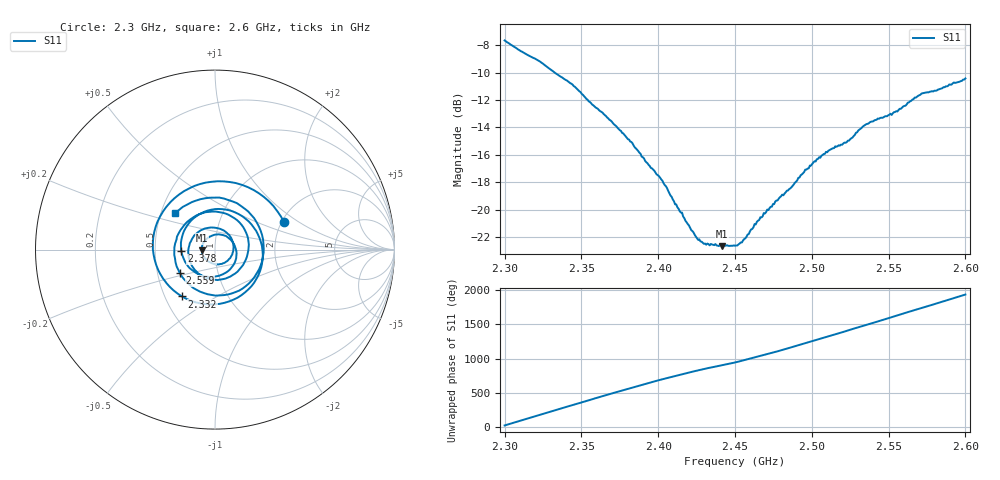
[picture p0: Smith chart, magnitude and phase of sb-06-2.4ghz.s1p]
! NanoVNA-App
! Date: 2026-05-22 17:34:10
! Start: 2.3GHz Stop: 2.6GHz Points: 401
! S-Parameter data: F S11
# Hz S RI R 50
!  Frequency  S11_Real  S11_Imag
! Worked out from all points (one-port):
!   401 points, 2.3 GHz to 2.6 GHz, reference 50 ohm
!   lowest |S11| = -22.7 dB at 2.442 GHz (marker M1), VSWR 1.16, Z = 43.1 - j0.282 ohm
!   |S11| at or under -10 dB: 2.333 GHz to end of sweep
!   S11 on the Smith chart (normalised r, x): 2.3 GHz: 2.06, +0.76; 2.332 GHz: 0.61, -0.36; 2.378 GHz: 0.68, -0.01; 2.559 GHz: 0.65, -0.18; 2.6 GHz: 0.59, +0.27
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2.3e9  0.3849 0.1522
2.30675e9  0.151 0.3604
2.312e9  -0.0847 0.3649
2.32175e9  -0.3442 0.0651
2.3315e9  -0.1842 -0.2613
2.3375e9  0.0274 -0.3021
2.351e9  0.2615 0.0205
2.36225e9  0.0386 0.2254
2.375e9  -0.1873 0.0542
2.378e9  -0.1873 -0.00959
2.3915e9  -0.00201 -0.1506
2.4125e9  0.0844 0.0574
2.44175e9  -0.0736 -0.00325
2.45e9  -0.054 -0.0505
2.47325e9  0.1025 -0.00231
2.4875e9  -0.00154 0.1221
2.504e9  -0.1439 -0.0524
2.51525e9  0.0141 -0.1696
2.525e9  0.172 -0.0556
2.5325e9  0.166 0.1095
2.54225e9  -0.0321 0.2105
2.55125e9  -0.2119 0.0719
2.55875e9  -0.1961 -0.1306
2.5625e9  -0.1222 -0.2129
2.5715e9  0.1353 -0.2281
2.58125e9  0.2699 0.0317
2.591e9  0.0784 0.2749
2.6e9  -0.2215 0.2037
